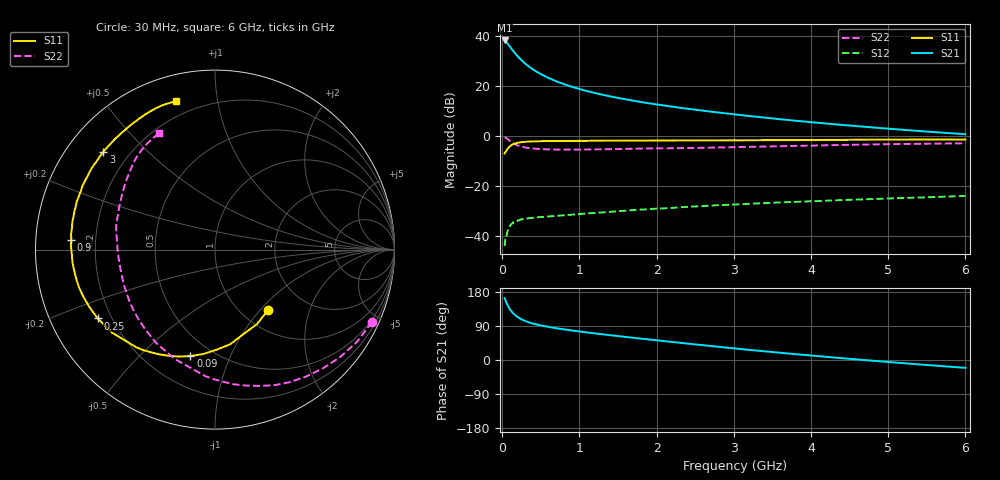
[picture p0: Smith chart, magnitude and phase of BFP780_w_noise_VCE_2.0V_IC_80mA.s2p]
! Infineon Technologies  Discrete & RF Semiconductors
! BFP780
! VCE =  2.0 V,  IC =  80 mA
! Common Emitter S-Parameters:  Jul 2015
# GHz  S  MA  R  50
!  f  S11  S21  S12  S22
! GHz  MAG  ANG  MAG  ANG  MAG  ANG  MAG  ANG
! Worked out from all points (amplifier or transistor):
!   75 points, 30 MHz to 6 GHz, reference 50 ohm
!   highest |S21| = 38.4 dB at 30 MHz (marker M1)
!   |S21| within 3 dB of that: start of sweep to 111.2 MHz
!   unconditionally stable (mu >= 1): 1.827 GHz to end of sweep
!   at 150 MHz: K = 0.14, MSG = 34.3 dB, |S12| = -34.8 dB
!   at 2.3 GHz: K = 1.11, MAG = 18.0 dB, |S12| = -28.6 dB
!   at 6 GHz: K = 1.36, MAG = 8.8 dB, |S12| = -24.0 dB
!   lowest NFmin = 1.80 dB at 450 MHz
!   S11 on the Smith chart (normalised r, x): 30 MHz: 1.32, -1.10; 90 MHz: 0.38, -0.72; 250 MHz: 0.15, -0.27; 900 MHz: 0.11, +0.03; 3 GHz: 0.11, +0.37; 6 GHz: 0.12, +0.76
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0.03  0.447 -48.3  83.19 163.3  0.0062 78.3  0.9622 -24.8
0.05  0.4985 -72.0  77.93 152.9  0.0086 62.0  0.9186 -40.8
0.06  0.5342 -80.9  74.97 148.5  0.011 59.5  0.894 -47.7
0.08  0.5862 -96.6  68.56 140.4  0.0141 54.7  0.8475 -60.7
0.09  0.6085 -103.0  65.29 136.9  0.015 53.8  0.8232 -66.7
0.12  0.6618 -118.2  56.47 128.0  0.0173 43.0  0.7578 -82.0
0.15  0.6987 -128.8  49.18 121.4  0.0182 38.6  0.7071 -94.4
0.2  0.7374 -141.2  39.84 113.1  0.0202 33.4  0.6488 -110.3
0.25  0.7578 -149.6  33.24 107.2  0.0215 29.7  0.6153 -122.1
0.3  0.7706 -155.8  28.27 102.6  0.0222 27.0  0.5903 -131.2
0.35  0.7797 -160.6  24.56 99.0  0.0226 25.8  0.5749 -138.3
0.5  0.7917 -170.1  17.52 91.2  0.0238 23.6  0.5502 -152.8
0.7  0.7982 -178.2  12.59 83.8  0.0251 22.9  0.5387 -164.5
0.9  0.8032 176.0  9.802 77.9  0.0266 23.9  0.5367 -172.2
1.1  0.8058 171.2  8 72.7  0.0281 24.7  0.5395 -178.0
1.5  0.8117 163.3  5.841 63.2  0.0312 26.0  0.5504 173.4
2.1  0.8193 152.9  4.102 49.8  0.0356 25.7  0.569 163.6
3  0.827 138.7  2.747 30.7  0.0425 23.9  0.6006 149.7
3.1  0.8275 137.4  2.638 28.8  0.0431 23.3  0.6051 148.3
4.1  0.8383 123.6  1.848 10.0  0.0498 19.3  0.6511 135.8
5.1  0.854 112.6  1.375 -6.9  0.0569 14.6  0.6927 125.2
6  0.8546 104.7  1.094 -20.7  0.0632 9.7  0.7193 115.8
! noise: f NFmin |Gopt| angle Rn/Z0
0.45  1.8  0.49  -179  0.07
0.9  1.86  0.51  -168  0.08
1.5  1.9  0.53  -160  0.1
1.8  2.09  0.54  -153  0.11
2.4  2.21  0.55  -145  0.16
3  2.48  0.57  -136  0.23
3.5  2.95  0.6  -123  0.36
